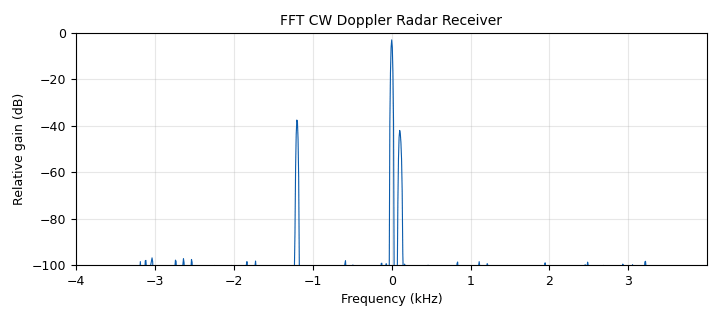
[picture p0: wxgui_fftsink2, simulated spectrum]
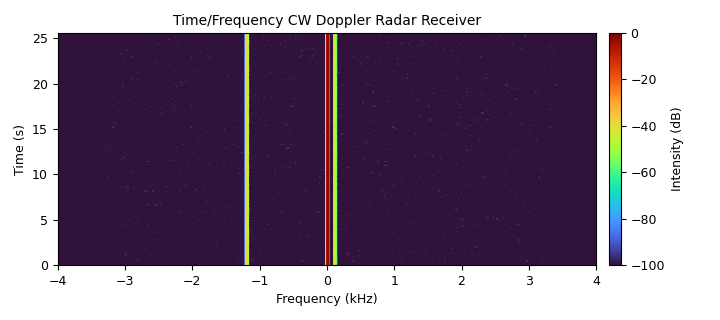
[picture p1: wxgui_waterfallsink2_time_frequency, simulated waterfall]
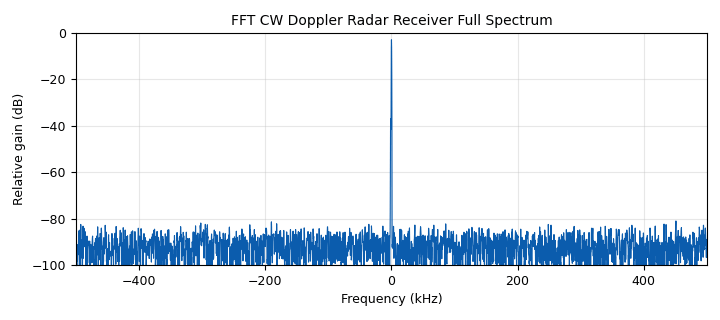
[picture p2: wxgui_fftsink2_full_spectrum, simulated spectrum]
<?xml version='1.0' encoding='utf-8'?>
<?grc format='1' created='3.7.6'?>
<flow_graph>
<block>
<key>options</key>
<param><key>id</key><value>CW_Radar_Simulator_Multiple_Targets</value></param>
<param><key>title</key><value>CW Doppler Radar Simulator Multiple Targets</value></param>
<param><key>author</key><value>Gabriel Gomez Molina</value></param>
<param><key>description</key><value>CW Doppler Radar Simulator for the CW Radar Project</value></param>
<param><key>generate_options</key><value>wx_gui</value></param>
<param><key>category</key><value>Custom</value></param>
<param><key>realtime_scheduling</key><value>1</value></param>
</block>
<block>
<key>cwradar_vector_flip_ff</key>
<param><key>id</key><value>cwradar_vector_flip_ff</value></param>
<param><key>vlen</key><value>fft_len/2</value></param>
</block>
<block>
<key>blocks_stream_to_vector</key>
<param><key>id</key><value>stream_to_vector_negative</value></param>
<param><key>type</key><value>float</value></param>
<param><key>num_items</key><value>fft_len/2</value></param>
</block>
<block>
<key>blocks_vector_to_stream</key>
<param><key>id</key><value>vector_to_stream_positive</value></param>
<param><key>type</key><value>float</value></param>
<param><key>num_items</key><value>fft_len</value></param>
</block>
<block>
<key>blocks_keep_m_in_n</key>
<param><key>id</key><value>keep_m_in_n_positive</value></param>
<param><key>type</key><value>float</value></param>
<param><key>m</key><value>fft_len/2</value></param>
<param><key>n</key><value>fft_len</value></param>
<param><key>offset</key><value>fft_len/2</value></param>
</block>
<block>
<key>blocks_keep_m_in_n</key>
<param><key>id</key><value>keep_m_in_n_negative</value></param>
<param><key>type</key><value>float</value></param>
<param><key>m</key><value>fft_len/2</value></param>
<param><key>n</key><value>fft_len</value></param>
<param><key>offset</key><value>0</value></param>
</block>
<block>
<key>blocks_stream_to_vector</key>
<param><key>id</key><value>stream_to_vector_positive</value></param>
<param><key>type</key><value>float</value></param>
<param><key>num_items</key><value>fft_len/2</value></param>
</block>
<block>
<key>blocks_throttle</key>
<param><key>id</key><value>throtle_block</value></param>
<param><key>type</key><value>complex</value></param>
<param><key>samples_per_second</key><value>samp_rate</value></param>
</block>
<block>
<key>blocks_add_xx</key>
<param><key>id</key><value>adder_2</value></param>
<param><key>type</key><value>complex</value></param>
</block>
<block>
<key>blocks_add_xx</key>
<param><key>id</key><value>adder_1</value></param>
<param><key>type</key><value>complex</value></param>
<param><key>num_inputs</key><value>5</value></param>
</block>
<block>
<key>blocks_multiply_xx</key>
<param><key>id</key><value>mixer</value></param>
<param><key>type</key><value>complex</value></param>
</block>
<block>
<key>analog_sig_source_x</key>
<param><key>id</key><value>tx_signal</value></param>
<param><key>type</key><value>complex</value></param>
<param><key>samp_rate</key><value>samp_rate</value></param>
<param><key>waveform</key><value>analog.GR_COS_WAVE</value></param>
<param><key>freq</key><value>0</value></param>
<param><key>amp</key><value>1</value></param>
<param><key>offset</key><value>0</value></param>
</block>
<block>
<key>fft_vxx</key>
<param><key>id</key><value>fft_vxx_0</value></param>
<param><key>type</key><value>complex</value></param>
<param><key>fft_size</key><value>fft_len</value></param>
<param><key>forward</key><value>True</value></param>
<param><key>window</key><value>window.blackmanharris(fft_len)</value></param>
<param><key>shift</key><value>True</value></param>
</block>
<block>
<key>blocks_complex_to_mag</key>
<param><key>id</key><value>blocks_complex_to_mag</value></param>
<param><key>vlen</key><value>fft_len</value></param>
</block>
<block>
<key>rational_resampler_xxx</key>
<param><key>id</key><value>rational_resampler</value></param>
<param><key>type</key><value>ccc</value></param>
<param><key>interp</key><value>1</value></param>
<param><key>decim</key><value>int(samp_rate/samp_rate_sink)</value></param>
<param><key>taps</key><value></value></param>
</block>
<block>
<key>blocks_stream_to_vector</key>
<param><key>id</key><value>stream_to_vector_for_fft</value></param>
<param><key>type</key><value>complex</value></param>
<param><key>num_items</key><value>fft_len</value></param>
</block>
<block>
<key>blocks_vector_to_stream</key>
<param><key>id</key><value>vector_to_stream_negative</value></param>
<param><key>type</key><value>float</value></param>
<param><key>num_items</key><value>fft_len</value></param>
</block>
<block>
<key>parameter</key>
<param><key>id</key><value>angle</value></param>
<param><key>label</key><value>Angle (Deg)</value></param>
<param><key>value</key><value>0</value></param>
<param><key>type</key><value>eng_float</value></param>
</block>
<block>
<key>parameter</key>
<param><key>id</key><value>samp_rate</value></param>
<param><key>label</key><value>Sample Rate (Hz)</value></param>
<param><key>value</key><value>1e6</value></param>
<param><key>type</key><value>eng_float</value></param>
</block>
<block>
<key>parameter</key>
<param><key>id</key><value>fft_len</value></param>
<param><key>label</key><value>FFT Length</value></param>
<param><key>value</key><value>pow(2,20)</value></param>
<param><key>type</key><value>intx</value></param>
</block>
<block>
<key>parameter</key>
<param><key>id</key><value>samp_rate_sink</value></param>
<param><key>label</key><value>Sample Rate FFT Sink (Hz)</value></param>
<param><key>value</key><value>8000</value></param>
<param><key>type</key><value>intx</value></param>
</block>
<block>
<key>parameter</key>
<param><key>id</key><value>tx_amp</value></param>
<param><key>label</key><value>TX Amplitude</value></param>
<param><key>value</key><value>10e-3</value></param>
<param><key>type</key><value>eng_float</value></param>
</block>
<block>
<key>parameter</key>
<param><key>id</key><value>max_num_of_targets</value></param>
<param><key>label</key><value>Max Num of Targets</value></param>
<param><key>value</key><value>10</value></param>
<param><key>type</key><value>intx</value></param>
</block>
<block>
<key>wxgui_fftsink2</key>
<param><key>id</key><value>wxgui_fftsink2</value></param>
<param><key>type</key><value>complex</value></param>
<param><key>title</key><value>FFT CW Doppler Radar Receiver </value></param>
<param><key>samp_rate</key><value>samp_rate_sink</value></param>
<param><key>baseband_freq</key><value>0</value></param>
<param><key>y_per_div</key><value>10</value></param>
<param><key>y_divs</key><value>10</value></param>
<param><key>ref_level</key><value>0</value></param>
<param><key>ref_scale</key><value>2.0</value></param>
<param><key>fft_size</key><value>1024</value></param>
<param><key>fft_rate</key><value>15</value></param>
<param><key>peak_hold</key><value>False</value></param>
<param><key>average</key><value>False</value></param>
<param><key>avg_alpha</key><value>0</value></param>
<param><key>win</key><value>window.blackmanharris</value></param>
<param><key>notebook</key><value>notebook, 0</value></param>
<param><key>freqvar</key><value>None</value></param>
</block>
<block>
<key>wxgui_waterfallsink2</key>
<param><key>id</key><value>wxgui_waterfallsink2_time_frequency</value></param>
<param><key>type</key><value>complex</value></param>
<param><key>title</key><value>Time/Frequency CW Doppler Radar Receiver</value></param>
<param><key>samp_rate</key><value>samp_rate_sink</value></param>
<param><key>baseband_freq</key><value>0</value></param>
<param><key>dynamic_range</key><value>100</value></param>
<param><key>ref_level</key><value>0</value></param>
<param><key>ref_scale</key><value>2.0</value></param>
<param><key>fft_size</key><value>1024</value></param>
<param><key>fft_rate</key><value>15</value></param>
<param><key>average</key><value>True</value></param>
<param><key>avg_alpha</key><value>0</value></param>
<param><key>win</key><value>window.blackmanharris</value></param>
<param><key>notebook</key><value>notebook, 1</value></param>
<param><key>freqvar</key><value>None</value></param>
</block>
<block>
<key>parameter</key>
<param><key>id</key><value>lowpass_cutoff_freq</value></param>
<param><key>label</key><value>Low-Pass Cutoff Frequency (Hz)</value></param>
<param><key>value</key><value>1700</value></param>
<param><key>type</key><value>eng_float</value></param>
</block>
<block>
<key>parameter</key>
<param><key>id</key><value>RF</value></param>
<param><key>label</key><value>Radio Frequency (Hz)</value></param>
<param><key>value</key><value>2.49e9</value></param>
<param><key>type</key><value>eng_float</value></param>
</block>
<block>
<key>parameter</key>
<param><key>id</key><value>speed_samp_rate</value></param>
<param><key>label</key><value>Speed Sample Rate (Hz)</value></param>
<param><key>value</key><value>1</value></param>
<param><key>type</key><value>eng_float</value></param>
</block>
<block>
<key>parameter</key>
<param><key>id</key><value>DC_filter_num_elements</value></param>
<param><key>label</key><value>DC Filter Num Elements</value></param>
<param><key>value</key><value>4</value></param>
<param><key>type</key><value>intx</value></param>
</block>
<block>
<key>parameter</key>
<param><key>id</key><value>threshold_dB</value></param>
<param><key>label</key><value>Threshold (dB)</value></param>
<param><key>value</key><value>-70</value></param>
<param><key>type</key><value>eng_float</value></param>
</block>
<block>
<key>parameter</key>
<param><key>id</key><value>rx_gain</value></param>
<param><key>label</key><value>RX Gain (dB)</value></param>
<param><key>value</key><value>0</value></param>
<param><key>type</key><value>intx</value></param>
</block>
<block>
<key>blocks_multiply_const_vxx</key>
<param><key>id</key><value>DC_filter_positive</value></param>
<param><key>type</key><value>float</value></param>
<param><key>const</key><value>[0]*DC_filter_num_elements+[1]*((fft_len/2)-DC_filter_num_elements)</value></param>
<param><key>vlen</key><value>fft_len/2</value></param>
</block>
<block>
<key>blocks_multiply_const_vxx</key>
<param><key>id</key><value>DC_filter_negative</value></param>
<param><key>type</key><value>float</value></param>
<param><key>const</key><value>[0]*DC_filter_num_elements+[1]*((fft_len/2)-DC_filter_num_elements)</value></param>
<param><key>vlen</key><value>fft_len/2</value></param>
</block>
<block>
<key>analog_sig_source_x</key>
<param><key>id</key><value>rx_signal_0</value></param>
<param><key>type</key><value>complex</value></param>
<param><key>samp_rate</key><value>samp_rate</value></param>
<param><key>waveform</key><value>analog.GR_COS_WAVE</value></param>
<param><key>freq</key><value>doppler_freq_sim_tuner</value></param>
<param><key>amp</key><value>tx_amp_tuner</value></param>
<param><key>offset</key><value>0</value></param>
</block>
<block>
<key>analog_sig_source_x</key>
<param><key>id</key><value>rx_signal_1</value></param>
<param><key>type</key><value>complex</value></param>
<param><key>samp_rate</key><value>samp_rate</value></param>
<param><key>waveform</key><value>analog.GR_COS_WAVE</value></param>
<param><key>freq</key><value>doppler_freq_sim_tuner-1300</value></param>
<param><key>amp</key><value>tx_amp+10e-3</value></param>
<param><key>offset</key><value>0</value></param>
</block>
<block>
<key>analog_sig_source_x</key>
<param><key>id</key><value>rx_signal_2</value></param>
<param><key>type</key><value>complex</value></param>
<param><key>samp_rate</key><value>samp_rate</value></param>
<param><key>waveform</key><value>analog.GR_COS_WAVE</value></param>
<param><key>freq</key><value>doppler_freq_sim_tuner+15</value></param>
<param><key>amp</key><value>tx_amp_tuner-5e-3</value></param>
<param><key>offset</key><value>0</value></param>
</block>
<block>
<key>blocks_probe_signal_vx</key>
<param><key>id</key><value>direction_vector_probe</value></param>
<param><key>type</key><value>int</value></param>
<param><key>vlen</key><value>max_num_of_targets</value></param>
</block>
<block>
<key>blocks_probe_signal_vx</key>
<param><key>id</key><value>speed_vector_probe</value></param>
<param><key>type</key><value>float</value></param>
<param><key>vlen</key><value>max_num_of_targets</value></param>
</block>
<block>
<key>blocks_probe_signal_x</key>
<param><key>id</key><value>num_targets_probe</value></param>
<param><key>type</key><value>int</value></param>
</block>
<block>
<key>parameter</key>
<param><key>id</key><value>highpass_cutoff_freq</value></param>
<param><key>label</key><value>High-Pass Cutoff Frequency (Hz)</value></param>
<param><key>value</key><value>0</value></param>
<param><key>type</key><value>eng_float</value></param>
</block>
<block>
<key>parameter</key>
<param><key>id</key><value>doppler_signal_bw</value></param>
<param><key>label</key><value>Doppler Signal Bandwidth (Hz)</value></param>
<param><key>value</key><value>20</value></param>
<param><key>type</key><value>eng_float</value></param>
</block>
<block>
<key>variable_slider</key>
<param><key>id</key><value>tx_amp_tuner</value></param>
<param><key>label</key><value>TX Signal Amp</value></param>
<param><key>value</key><value>tx_amp</value></param>
<param><key>min</key><value>0</value></param>
<param><key>max</key><value>100e-3</value></param>
<param><key>num_steps</key><value>1000</value></param>
<param><key>style</key><value>wx.SL_HORIZONTAL</value></param>
<param><key>converver</key><value>float_converter</value></param>
<param><key>grid_pos</key><value>0,8,1,21</value></param>
</block>
<block>
<key>variable_slider</key>
<param><key>id</key><value>rx_gain_tuner</value></param>
<param><key>label</key><value>USRP RX Gain (dB)</value></param>
<param><key>value</key><value>rx_gain</value></param>
<param><key>min</key><value>0</value></param>
<param><key>max</key><value>70</value></param>
<param><key>num_steps</key><value>70</value></param>
<param><key>style</key><value>wx.SL_HORIZONTAL</value></param>
<param><key>converver</key><value>float_converter</value></param>
<param><key>grid_pos</key><value>0,0,1,8</value></param>
</block>
<block>
<key>variable_slider</key>
<param><key>id</key><value>lowpass_cutoff_freq_tuner</value></param>
<param><key>label</key><value>Low-Pass Cutoff Frequency (Hz)</value></param>
<param><key>value</key><value>lowpass_cutoff_freq</value></param>
<param><key>min</key><value>0</value></param>
<param><key>max</key><value>3000</value></param>
<param><key>num_steps</key><value>1000</value></param>
<param><key>style</key><value>wx.SL_HORIZONTAL</value></param>
<param><key>converver</key><value>float_converter</value></param>
<param><key>grid_pos</key><value>1,29,1,24</value></param>
</block>
<block>
<key>variable_slider</key>
<param><key>id</key><value>threshold_dB_tuner</value></param>
<param><key>label</key><value>Detected Target Threshold (dB)</value></param>
<param><key>value</key><value>threshold_dB</value></param>
<param><key>min</key><value>-90</value></param>
<param><key>max</key><value>-30</value></param>
<param><key>num_steps</key><value>60</value></param>
<param><key>style</key><value>wx.SL_HORIZONTAL</value></param>
<param><key>converver</key><value>float_converter</value></param>
<param><key>grid_pos</key><value>2,0,1,8</value></param>
</block>
<block>
<key>variable_slider</key>
<param><key>id</key><value>RF_tuner</value></param>
<param><key>label</key><value>Radar Frequency (Hz)</value></param>
<param><key>value</key><value>RF</value></param>
<param><key>min</key><value>2.4e9</value></param>
<param><key>max</key><value>2.5e9</value></param>
<param><key>num_steps</key><value>1000</value></param>
<param><key>style</key><value>wx.SL_HORIZONTAL</value></param>
<param><key>converver</key><value>float_converter</value></param>
<param><key>grid_pos</key><value>1,0,1,8</value></param>
</block>
<block>
<key>variable_slider</key>
<param><key>id</key><value>angle_tuner</value></param>
<param><key>label</key><value>Angle of Approach of the Target (Deg)</value></param>
<param><key>value</key><value>angle</value></param>
<param><key>min</key><value>0</value></param>
<param><key>max</key><value>89</value></param>
<param><key>num_steps</key><value>890</value></param>
<param><key>style</key><value>wx.SL_HORIZONTAL</value></param>
<param><key>converver</key><value>float_converter</value></param>
<param><key>grid_pos</key><value>1,8,1,21</value></param>
</block>
<block>
<key>variable_slider</key>
<param><key>id</key><value>highpass_cutoff_freq_tuner</value></param>
<param><key>label</key><value>High-Pass Cutoff Frequency (Hz)</value></param>
<param><key>value</key><value>highpass_cutoff_freq</value></param>
<param><key>min</key><value>0</value></param>
<param><key>max</key><value>1600</value></param>
<param><key>num_steps</key><value>1000</value></param>
<param><key>style</key><value>wx.SL_HORIZONTAL</value></param>
<param><key>converver</key><value>float_converter</value></param>
<param><key>grid_pos</key><value>0,29,1,24</value></param>
</block>
<block>
<key>variable_slider</key>
<param><key>id</key><value>max_num_of_targets_tuner</value></param>
<param><key>label</key><value>Maximum Number of Targets</value></param>
<param><key>value</key><value>max_num_of_targets</value></param>
<param><key>min</key><value>0</value></param>
<param><key>max</key><value>100</value></param>
<param><key>num_steps</key><value>100</value></param>
<param><key>style</key><value>wx.SL_HORIZONTAL</value></param>
<param><key>converver</key><value>int_converter</value></param>
<param><key>grid_pos</key><value>2,8,1,21</value></param>
</block>
<block>
<key>wxgui_fftsink2</key>
<param><key>id</key><value>wxgui_fftsink2_full_spectrum</value></param>
<param><key>type</key><value>complex</value></param>
<param><key>title</key><value>FFT CW Doppler Radar Receiver Full Spectrum</value></param>
<param><key>samp_rate</key><value>samp_rate</value></param>
<param><key>baseband_freq</key><value>0</value></param>
<param><key>y_per_div</key><value>10</value></param>
<param><key>y_divs</key><value>10</value></param>
<param><key>ref_level</key><value>0</value></param>
<param><key>ref_scale</key><value>2.0</value></param>
<param><key>fft_size</key><value>4096</value></param>
<param><key>fft_rate</key><value>15</value></param>
<param><key>peak_hold</key><value>False</value></param>
<param><key>average</key><value>False</value></param>
<param><key>avg_alpha</key><value>0</value></param>
<param><key>win</key><value>window.blackmanharris</value></param>
<param><key>notebook</key><value>notebook, 2</value></param>
<param><key>freqvar</key><value>None</value></param>
</block>
<block>
<key>variable_function_probe</key>
<param><key>id</key><value>target_speed_vector</value></param>
<param><key>value</key><value>0</value></param>
<param><key>block_id</key><value>speed_vector_probe</value></param>
<param><key>function_name</key><value>level</value></param>
<param><key>poll_rate</key><value>speed_samp_rate</value></param>
</block>
<block>
<key>variable_text_box</key>
<param><key>id</key><value>direction_textbox</value></param>
<param><key>label</key><value>Targets Direction</value></param>
<param><key>value</key><value>target_direction_vector</value></param>
<param><key>converver</key><value>str_converter</value></param>
<param><key>formatter</key><value>None</value></param>
<param><key>grid_pos</key><value>5,0,1,53</value></param>
</block>
<block>
<key>variable_function_probe</key>
<param><key>id</key><value>target_direction_vector</value></param>
<param><key>value</key><value>0</value></param>
<param><key>block_id</key><value>direction_vector_probe</value></param>
<param><key>function_name</key><value>level</value></param>
<param><key>poll_rate</key><value>speed_samp_rate</value></param>
</block>
<block>
<key>variable_text_box</key>
<param><key>id</key><value>num_targets_textbox</value></param>
<param><key>label</key><value>Number of Targets Detected</value></param>
<param><key>value</key><value>num_targets</value></param>
<param><key>converver</key><value>int_converter</value></param>
<param><key>formatter</key><value>None</value></param>
<param><key>grid_pos</key><value>3,0,1,4</value></param>
</block>
<block>
<key>variable_function_probe</key>
<param><key>id</key><value>num_targets</value></param>
<param><key>value</key><value>0</value></param>
<param><key>block_id</key><value>num_targets_probe</value></param>
<param><key>function_name</key><value>level</value></param>
<param><key>poll_rate</key><value>speed_samp_rate</value></param>
</block>
<block>
<key>variable_text_box</key>
<param><key>id</key><value>speed_textbox</value></param>
<param><key>label</key><value>Targets Speed (Kph)</value></param>
<param><key>value</key><value>target_speed_vector</value></param>
<param><key>converver</key><value>str_converter</value></param>
<param><key>formatter</key><value>None</value></param>
<param><key>grid_pos</key><value>4,0,1,53</value></param>
</block>
<block>
<key>notebook</key>
<param><key>id</key><value>notebook</value></param>
<param><key>style</key><value>wx.NB_TOP</value></param>
<param><key>labels</key><value>['FFT CW Doppler Radar Receiver', 'Frequency/Time CW Doppler Radar Receiver', 'FFT CW Doppler Radar Receiver Full Spectrum']</value></param>
<param><key>grid_pos</key><value>6,0,13,53</value></param>
</block>
<block>
<key>variable_slider</key>
<param><key>id</key><value>doppler_signal_bw_tuner</value></param>
<param><key>label</key><value>Doppler Spectrum Bandwidth (Hz)</value></param>
<param><key>value</key><value>doppler_signal_bw</value></param>
<param><key>min</key><value>0</value></param>
<param><key>max</key><value>100</value></param>
<param><key>num_steps</key><value>100</value></param>
<param><key>style</key><value>wx.SL_HORIZONTAL</value></param>
<param><key>converver</key><value>float_converter</value></param>
<param><key>grid_pos</key><value>2,29,1,24</value></param>
</block>
<block>
<key>cwradar_doppler_velocity_multiple_targets_ff</key>
<param><key>id</key><value>cwradar_doppler_velocity_multiple_targets_ff</value></param>
<param><key>vlen</key><value>fft_len/2</value></param>
<param><key>samples_per_sec</key><value>samp_rate</value></param>
<param><key>radar_freq</key><value>RF_tuner</value></param>
<param><key>signal_min_dB</key><value>threshold_dB_tuner</value></param>
<param><key>angle_of_approach</key><value>angle_tuner</value></param>
<param><key>lowpass_cut_freq</key><value>lowpass_cutoff_freq_tuner</value></param>
<param><key>highpass_cut_freq</key><value>highpass_cutoff_freq_tuner</value></param>
<param><key>max_num_of_targets</key><value>max_num_of_targets_tuner</value></param>
<param><key>doppler_signal_bw</key><value>doppler_signal_bw_tuner</value></param>
</block>
<block>
<key>analog_noise_source_x</key>
<param><key>id</key><value>awgn_channel_simulator</value></param>
<param><key>type</key><value>complex</value></param>
<param><key>noise_type</key><value>analog.GR_GAUSSIAN</value></param>
<param><key>amp</key><value>1e-3</value></param>
<param><key>seed</key><value>0</value></param>
</block>
<block>
<key>variable_slider</key>
<param><key>id</key><value>doppler_freq_sim_tuner</value></param>
<param><key>label</key><value>Doppler Frequency Simulator (Hz)</value></param>
<param><key>value</key><value>100</value></param>
<param><key>min</key><value>-2000</value></param>
<param><key>max</key><value>2000</value></param>
<param><key>num_steps</key><value>1000</value></param>
<param><key>style</key><value>wx.SL_HORIZONTAL</value></param>
<param><key>converver</key><value>float_converter</value></param>
<param><key>grid_pos</key><value>3,29,1,24</value></param>
</block>
<block>
<key>blocks_file_sink</key>
<param><key>id</key><value>file_negative_frequency</value></param>
<param><key>_enabled</key><value>False</value></param>
<param><key>file</key><value>CW_Radar_Simulator_MT_neg.dat</value></param>
<param><key>type</key><value>float</value></param>
<param><key>vlen</key><value>fft_len/2</value></param>
</block>
<block>
<key>blocks_file_sink</key>
<param><key>id</key><value>file_positive_frequency</value></param>
<param><key>_enabled</key><value>False</value></param>
<param><key>file</key><value>CW_Radar_Simulator_MT_pos.dat</value></param>
<param><key>type</key><value>float</value></param>
<param><key>vlen</key><value>fft_len/2</value></param>
</block>
<connection><source_block_id>DC_filter_negative</source_block_id><sink_block_id>cwradar_doppler_velocity_multiple_targets_ff</sink_block_id><source_key>0</source_key><sink_key>0</sink_key></connection>
<connection><source_block_id>DC_filter_positive</source_block_id><sink_block_id>cwradar_doppler_velocity_multiple_targets_ff</sink_block_id><source_key>0</source_key><sink_key>1</sink_key></connection>
<connection><source_block_id>cwradar_doppler_velocity_multiple_targets_ff</source_block_id><sink_block_id>num_targets_probe</sink_block_id><source_key>2</source_key><sink_key>0</sink_key></connection>
<connection><source_block_id>cwradar_doppler_velocity_multiple_targets_ff</source_block_id><sink_block_id>direction_vector_probe</sink_block_id><source_key>1</source_key><sink_key>0</sink_key></connection>
<connection><source_block_id>cwradar_doppler_velocity_multiple_targets_ff</source_block_id><sink_block_id>speed_vector_probe</sink_block_id><source_key>0</source_key><sink_key>0</sink_key></connection>
<connection><source_block_id>awgn_channel_simulator</source_block_id><sink_block_id>adder_2</sink_block_id><source_key>0</source_key><sink_key>0</sink_key></connection>
<connection><source_block_id>tx_signal</source_block_id><sink_block_id>adder_2</sink_block_id><source_key>0</source_key><sink_key>1</sink_key></connection>
<connection><source_block_id>adder_2</source_block_id><sink_block_id>mixer</sink_block_id><source_key>0</source_key><sink_key>0</sink_key></connection>
<connection><source_block_id>awgn_channel_simulator</source_block_id><sink_block_id>adder_1</sink_block_id><source_key>0</source_key><sink_key>0</sink_key></connection>
<connection><source_block_id>mixer</source_block_id><sink_block_id>throtle_block</sink_block_id><source_key>0</source_key><sink_key>0</sink_key></connection>
<connection><source_block_id>mixer</source_block_id><sink_block_id>stream_to_vector_for_fft</sink_block_id><source_key>0</source_key><sink_key>0</sink_key></connection>
<connection><source_block_id>throtle_block</source_block_id><sink_block_id>wxgui_fftsink2_full_spectrum</sink_block_id><source_key>0</source_key><sink_key>0</sink_key></connection>
<connection><source_block_id>throtle_block</source_block_id><sink_block_id>rational_resampler</sink_block_id><source_key>0</source_key><sink_key>0</sink_key></connection>
<connection><source_block_id>adder_1</source_block_id><sink_block_id>mixer</sink_block_id><source_key>0</source_key><sink_key>1</sink_key></connection>
<connection><source_block_id>rational_resampler</source_block_id><sink_block_id>wxgui_waterfallsink2_time_frequency</sink_block_id><source_key>0</source_key><sink_key>0</sink_key></connection>
<connection><source_block_id>stream_to_vector_for_fft</source_block_id><sink_block_id>fft_vxx_0</sink_block_id><source_key>0</source_key><sink_key>0</sink_key></connection>
<connection><source_block_id>fft_vxx_0</source_block_id><sink_block_id>blocks_complex_to_mag</sink_block_id><source_key>0</source_key><sink_key>0</sink_key></connection>
<connection><source_block_id>blocks_complex_to_mag</source_block_id><sink_block_id>vector_to_stream_negative</sink_block_id><source_key>0</source_key><sink_key>0</sink_key></connection>
<connection><source_block_id>blocks_complex_to_mag</source_block_id><sink_block_id>vector_to_stream_positive</sink_block_id><source_key>0</source_key><sink_key>0</sink_key></connection>
<connection><source_block_id>vector_to_stream_positive</source_block_id><sink_block_id>keep_m_in_n_positive</sink_block_id><source_key>0</source_key><sink_key>0</sink_key></connection>
<connection><source_block_id>keep_m_in_n_negative</source_block_id><sink_block_id>stream_to_vector_negative</sink_block_id><source_key>0</source_key><sink_key>0</sink_key></connection>
<connection><source_block_id>keep_m_in_n_positive</source_block_id><sink_block_id>stream_to_vector_positive</sink_block_id><source_key>0</source_key><sink_key>0</sink_key></connection>
<connection><source_block_id>vector_to_stream_negative</source_block_id><sink_block_id>keep_m_in_n_negative</sink_block_id><source_key>0</source_key><sink_key>0</sink_key></connection>
<connection><source_block_id>stream_to_vector_positive</source_block_id><sink_block_id>DC_filter_positive</sink_block_id><source_key>0</source_key><sink_key>0</sink_key></connection>
<connection><source_block_id>stream_to_vector_negative</source_block_id><sink_block_id>cwradar_vector_flip_ff</sink_block_id><source_key>0</source_key><sink_key>0</sink_key></connection>
<connection><source_block_id>cwradar_vector_flip_ff</source_block_id><sink_block_id>DC_filter_negative</sink_block_id><source_key>0</source_key><sink_key>0</sink_key></connection>
<connection><source_block_id>rx_signal_1</source_block_id><sink_block_id>adder_1</sink_block_id><source_key>0</source_key><sink_key>3</sink_key></connection>
<connection><source_block_id>rx_signal_0</source_block_id><sink_block_id>adder_1</sink_block_id><source_key>0</source_key><sink_key>2</sink_key></connection>
<connection><source_block_id>tx_signal</source_block_id><sink_block_id>adder_1</sink_block_id><source_key>0</source_key><sink_key>1</sink_key></connection>
<connection><source_block_id>rx_signal_2</source_block_id><sink_block_id>adder_1</sink_block_id><source_key>0</source_key><sink_key>4</sink_key></connection>
<connection><source_block_id>rational_resampler</source_block_id><sink_block_id>wxgui_fftsink2</sink_block_id><source_key>0</source_key><sink_key>0</sink_key></connection>
<connection><source_block_id>DC_filter_negative</source_block_id><sink_block_id>file_negative_frequency</sink_block_id><source_key>0</source_key><sink_key>0</sink_key></connection>
<connection><source_block_id>DC_filter_positive</source_block_id><sink_block_id>file_positive_frequency</sink_block_id><source_key>0</source_key><sink_key>0</sink_key></connection>
</flow_graph>
